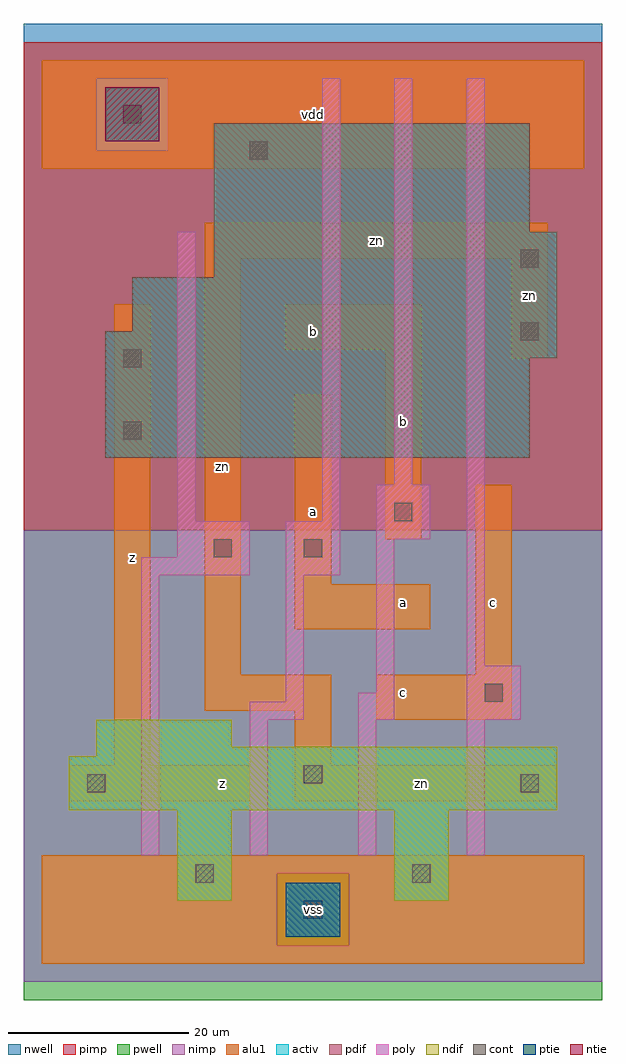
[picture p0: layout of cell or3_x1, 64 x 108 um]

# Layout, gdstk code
import gdstk
lib = gdstk.Library(unit=1e-6, precision=1e-09)
def R(c, l, rs):  # rectangles x0, y0, x1, y1
    for r in rs: c.add(gdstk.rectangle(r[:2], r[2:], *l))
def A(c, l, x, y, w, h, nx, ny, dx, dy):  # array of equal rectangles
    R(c, l, [(x+i*dx, y+j*dy, x+i*dx+w, y+j*dy+h) for i in range(nx) for j in range(ny)])
ndif = (3, 0)
pdif = (4, 0)
ntie = (5, 0)
ptie = (6, 0)
cont = (25, 0)
pwell = (41, 0)
nwell = (42, 0)
activ = (43, 0)
pimp = (44, 0)
nimp = (45, 0)
poly = (46, 0)
alu1 = (49, 0)

or3_x1 = lib.new_cell('or3_x1')
R(or3_x1, ndif, [(15,7,21,17), (39,7,45,17), (3,17,57,23), (6,23,57,24), (6,24,21,27)])
R(or3_x1, pdif, [(7,56,54,67), (7,67,57,70), (10,70,57,76), (19,76,57,81), (19,81,54,93)])
R(or3_x1, ntie, [(7,91,13,97)])
R(or3_x1, ptie, [(27,3,33,9)])
R(or3_x1, cont, [(29,5,31,7), (17,9,19,11), (41,9,43,11), (5,19,7,21), (53,19,55,21), (29,20,31,22), (49,29,51,31), (19,45,21,47), (29,45,31,47), (39,49,41,51), (9,58,11,60), (9,66,11,68), (53,69,55,71), (53,77,55,79), (23,89,25,91), (9,93,11,95)])
R(or3_x1, pwell, [(-2,-4,62,48)])
R(or3_x1, nwell, [(-2,48,62,104)])
R(or3_x1, activ, [(27,3,33,9), (15,7,21,17), (39,7,45,17), (3,17,57,23), (6,23,57,24), (6,24,21,27), (7,56,54,67), (7,67,57,70), (10,70,57,76), (19,76,57,81), (19,81,54,93), (7,91,13,97)])
R(or3_x1, pimp, [(26,2,34,10), (-2,48,62,90), (-2,90,6,98), (14,90,62,98), (-2,98,62,102)])
R(or3_x1, nimp, [(-2,-2,62,2), (-2,2,26,10), (34,2,62,10), (-2,10,62,48), (6,90,14,98)])
A(or3_x1, poly, 23, 12, 2, 15, 3, 1, 12, 0)
R(or3_x1, poly, [(11,12,13,43), (23,27,29,29), (35,27,39,30), (47,27,53,33), (27,29,29,43), (37,30,39,47), (47,33,49,98), (11,43,23,45), (27,43,33,49), (15,45,23,49), (37,47,43,53), (15,49,17,81), (31,49,33,98), (39,53,41,98)])
R(or3_x1, alu1, [(0,0,60,12), (3,18,23,22), (28,18,57,22), (8,22,12,73), (28,22,32,28), (37,27,52,32), (18,28,32,32), (18,32,22,78), (48,32,52,53), (28,37,43,42), (28,42,32,63), (38,47,42,68), (52,67,56,78), (27,68,42,73), (18,78,56,82), (0,88,60,100)])
or3_x1.add(gdstk.Label('z', (10,45), layer=49, texttype=0))
or3_x1.add(gdstk.Label('z', (20,20), layer=49, texttype=0))
or3_x1.add(gdstk.Label('zn', (20,55), layer=49, texttype=0))
or3_x1.add(gdstk.Label('vss', (30,6), layer=49, texttype=0))
or3_x1.add(gdstk.Label('a', (40,40), layer=49, texttype=0))
or3_x1.add(gdstk.Label('c', (40,30), layer=49, texttype=0))
or3_x1.add(gdstk.Label('a', (30,50), layer=49, texttype=0))
or3_x1.add(gdstk.Label('b', (30,70), layer=49, texttype=0))
or3_x1.add(gdstk.Label('b', (40,60), layer=49, texttype=0))
or3_x1.add(gdstk.Label('vdd', (30,94), layer=49, texttype=0))
or3_x1.add(gdstk.Label('zn', (42,20), layer=49, texttype=0))
or3_x1.add(gdstk.Label('c', (50,40), layer=49, texttype=0))
or3_x1.add(gdstk.Label('zn', (54,74), layer=49, texttype=0))
or3_x1.add(gdstk.Label('zn', (37,80), layer=49, texttype=0))

lib.write_gds('or3_x1.gds')
